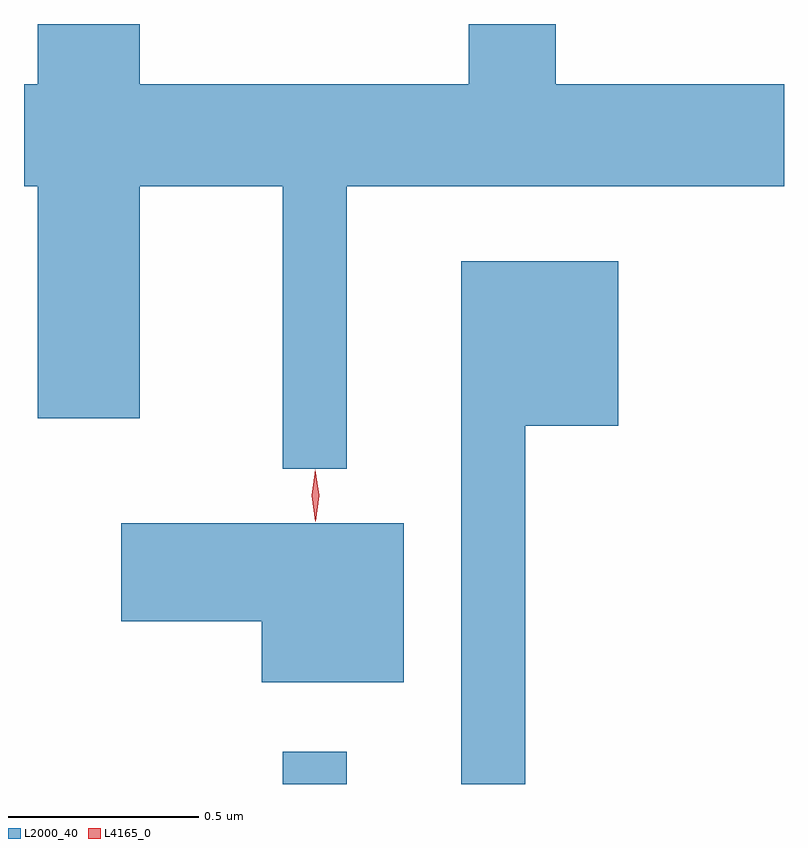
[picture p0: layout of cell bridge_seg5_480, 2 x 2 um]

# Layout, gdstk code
import gdstk
lib = gdstk.Library(unit=1e-6, precision=1e-09)
def R(c, l, rs):  # rectangles x0, y0, x1, y1
    for r in rs: c.add(gdstk.rectangle(r[:2], r[2:], *l))
def P(c, l, *ps):  # polygons
    for p in ps: c.add(gdstk.Polygon(p, *l))
L2000_40 = (2000, 40)
L4165_0 = (4165, 0)

bridge_seg5_480 = lib.new_cell('bridge_seg5_480')
R(bridge_seg5_480, L2000_40, [(187.231,1481.863,187.399,1481.948)])
P(bridge_seg5_480, L2000_40, [(187.399,1483.436),(188.55,1483.436),(188.55,1483.704),(187.949,1483.704),(187.949,1483.863),(187.721,1483.863),(187.721,1483.704),(186.854,1483.704),(186.854,1483.863),(186.586,1483.863),(186.586,1483.704),(186.55,1483.704),(186.55,1483.436),(186.586,1483.436),(186.586,1482.826),(186.854,1482.826),(186.854,1483.436),(187.231,1483.436),(187.231,1482.693),(187.399,1482.693)],
  [(187.869,1482.806),(188.114,1482.806),(188.114,1483.239),(187.701,1483.239),(187.701,1481.863),(187.869,1481.863)],
  [(187.549,1482.549),(186.806,1482.549),(186.806,1482.291),(187.176,1482.291),(187.176,1482.131),(187.549,1482.131)])
P(bridge_seg5_480, L4165_0, [(187.317,1482.554),(187.317,1482.554),(187.307,1482.622),(187.316,1482.69),(187.316,1482.69),(187.317,1482.69),(187.327,1482.622),(187.318,1482.554)],
  [(187.317,1482.56),(187.316,1482.561),(187.307,1482.623),(187.316,1482.686),(187.316,1482.687),(187.317,1482.686),(187.327,1482.624),(187.317,1482.561)])

lib.write_gds('bridge_seg5_480.gds')
